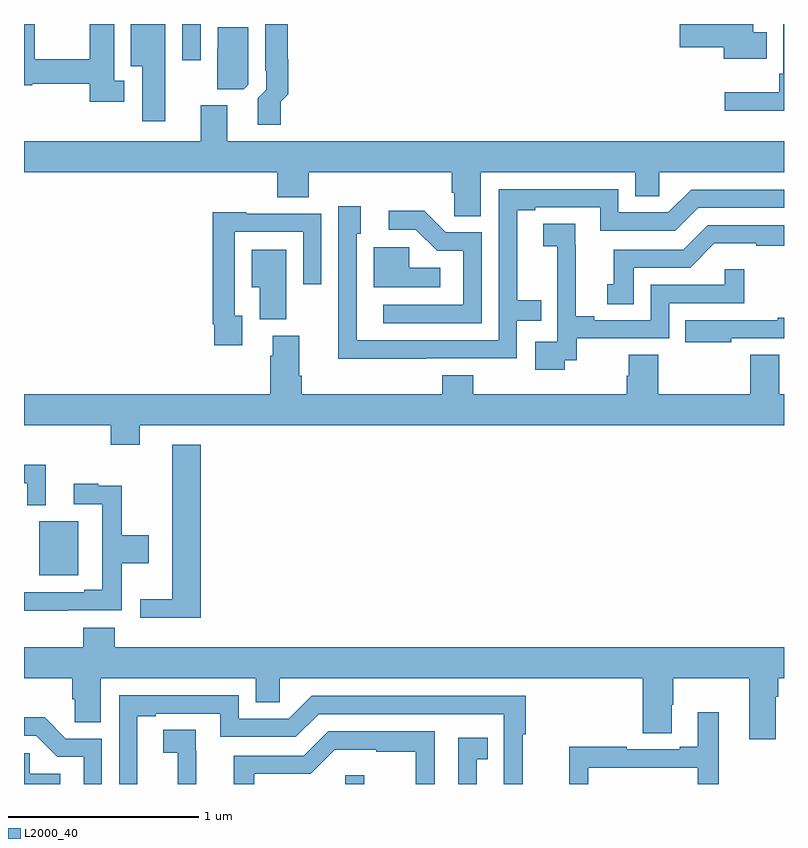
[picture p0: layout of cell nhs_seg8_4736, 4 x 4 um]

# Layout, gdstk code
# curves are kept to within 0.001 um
import gdstk
lib = gdstk.Library(unit=1e-6, precision=1e-09)
def R(c, l, rs):  # rectangles x0, y0, x1, y1
    for r in rs: c.add(gdstk.rectangle(r[:2], r[2:], *l))
def P(c, l, *ps):  # polygons
    for p in ps: c.add(gdstk.Polygon(p, *l))
L2000_40 = (2000, 40)

nhs_seg8_4736 = lib.new_cell('nhs_seg8_4736')
R(nhs_seg8_4736, L2000_40, [(398.691,1159.9,398.792,1159.945), (397.079,1160.999,397.285,1161.283), (397.833,1163.709,397.929,1163.9)])
P(nhs_seg8_4736, L2000_40, [(397.528,1163.602),(397.474,1163.602),(397.474,1163.9),(397.345,1163.9),(397.345,1163.714),(397.056,1163.714),(397.056,1163.9),(397,1163.9),(397,1163.578),(397.044,1163.578),(397.044,1163.586),(397.345,1163.586),(397.345,1163.492),(397.528,1163.492)],
  [(397.744,1163.9),(397.562,1163.9),(397.562,1163.678),(397.622,1163.678),(397.622,1163.388),(397.744,1163.388)],
  [(400.91,1163.857),(400.837,1163.857),(400.837,1163.9),(400.452,1163.9),(400.452,1163.777),(400.682,1163.777),(400.682,1163.717),(400.91,1163.717)],
  [(401,1163.9),(400.995,1163.9),(400.995,1163.638),(400.975,1163.638),(400.975,1163.542),(400.689,1163.542),(400.689,1163.444),(401,1163.444)],
  [(398.351,1163.492),(398.39,1163.53),(398.39,1163.714),(398.387,1163.714),(398.387,1163.9),(398.271,1163.9),(398.271,1163.653),(398.274,1163.653),(398.274,1163.553),(398.231,1163.51),(398.231,1163.37),(398.351,1163.37)],
  [(398.181,1163.58),(398.181,1163.882),(398.019,1163.882),(398.019,1163.771),(398.018,1163.771),(398.018,1163.557),(398.157,1163.557)],
  [(399.403,1163.12),(400.217,1163.12),(400.217,1162.993),(400.344,1162.993),(400.344,1163.12),(401,1163.12),(401,1163.284),(398.071,1163.284),(398.071,1163.472),(397.931,1163.472),(397.931,1163.284),(397,1163.284),(397,1163.12),(398.333,1163.12),(398.333,1162.987),(398.498,1162.987),(398.498,1163.12),(399.251,1163.12),(399.251,1163.011),(399.264,1163.011),(399.264,1162.888),(399.403,1162.888)],
  [(399.116,1162.14),(399.594,1162.14),(399.594,1162.338),(399.722,1162.338),(399.722,1162.447),(399.595,1162.447),(399.595,1162.92),(399.691,1162.92),(399.691,1162.935),(400.032,1162.935),(400.032,1162.812),(400.428,1162.812),(400.548,1162.932),(401,1162.932),(401,1163.028),(400.512,1163.028),(400.392,1162.908),(400.128,1162.908),(400.128,1163.031),(399.498,1163.031),(399.498,1162.236),(398.751,1162.236),(398.751,1162.797),(398.773,1162.797),(398.773,1162.942),(398.655,1162.942),(398.654,1162.139)],
  [(399.408,1162.803),(399.219,1162.803),(399.106,1162.916),(398.919,1162.916),(398.919,1162.818),(399.063,1162.818),(399.174,1162.707),(399.312,1162.707),(399.312,1162.422),(398.892,1162.422),(398.892,1162.326),(399.408,1162.326)],
  [(398.149,1162.365),(398.109,1162.365),(398.109,1162.806),(398.469,1162.806),(398.469,1162.53),(398.565,1162.53),(398.565,1162.902),(398.169,1162.902),(398.169,1162.909),(397.993,1162.909),(397.993,1162.321),(398.001,1162.321),(398.001,1162.209),(398.149,1162.209)],
  [(399.846,1162.131),(399.908,1162.131),(399.908,1162.245),(400.395,1162.245),(400.395,1162.431),(400.79,1162.431),(400.79,1162.609),(400.689,1162.609),(400.689,1162.527),(400.299,1162.527),(400.299,1162.341),(400,1162.341),(400,1162.361),(399.904,1162.361),(399.904,1162.739),(399.902,1162.739),(399.902,1162.85),(399.732,1162.85),(399.732,1162.729),(399.806,1162.729),(399.806,1162.531),(399.807,1162.531),(399.807,1162.227),(399.69,1162.227),(399.69,1162.08),(399.846,1162.08)],
  [(400.21,1162.617),(400.506,1162.617),(400.634,1162.745),(400.853,1162.745),(400.853,1162.734),(401,1162.734),(401,1162.842),(400.599,1162.842),(400.47,1162.713),(400.103,1162.713),(400.103,1162.53),(400.07,1162.53),(400.07,1162.426),(400.21,1162.426)],
  [(399.19,1162.618),(399.027,1162.618),(399.027,1162.725),(398.84,1162.725),(398.84,1162.514),(399.19,1162.514)],
  [(398.38,1162.711),(398.198,1162.711),(398.198,1162.514),(398.24,1162.514),(398.24,1162.345),(398.38,1162.345)],
  [(400.723,1162.245),(401,1162.245),(401,1162.354),(400.967,1162.354),(400.967,1162.341),(400.48,1162.341),(400.48,1162.226),(400.723,1162.226)],
  [(397.609,1161.788),(401,1161.788),(401,1161.952),(400.975,1161.952),(400.975,1162.16),(400.823,1162.16),(400.823,1161.952),(400.337,1161.952),(400.337,1162.16),(400.184,1162.16),(400.184,1162.05),(400.172,1162.05),(400.172,1161.952),(399.365,1161.952),(399.365,1162.051),(399.2,1162.051),(399.2,1161.952),(398.462,1161.952),(398.462,1162.048),(398.449,1162.048),(398.449,1162.26),(398.309,1162.26),(398.309,1162.154),(398.297,1162.154),(398.297,1161.952),(397,1161.952),(397,1161.788),(397.457,1161.788),(397.457,1161.686),(397.609,1161.686)],
  [(397.931,1161.685),(397.781,1161.685),(397.781,1160.873),(397.611,1160.873),(397.611,1160.774),(397.931,1160.774)],
  [(397.114,1161.579),(397,1161.579),(397,1161.483),(397.017,1161.483),(397.017,1161.368),(397.114,1161.368)],
  [(397.229,1160.814),(397.514,1160.814),(397.514,1161.062),(397.657,1161.062),(397.657,1161.21),(397.514,1161.21),(397.514,1161.47),(397.391,1161.47),(397.391,1161.481),(397.263,1161.481),(397.263,1161.372),(397.413,1161.372),(397.413,1160.923),(397.316,1160.923),(397.316,1160.91),(397,1160.91),(397,1160.813),(397.229,1160.813)],
  [(397.478,1160.722),(397.313,1160.722),(397.313,1160.62),(397,1160.62),(397,1160.456),(397.253,1160.456),(397.253,1160.347),(397.266,1160.347),(397.266,1160.224),(397.405,1160.224),(397.405,1160.456),(398.219,1160.456),(398.219,1160.329),(398.346,1160.329),(398.346,1160.456),(400.256,1160.456),(400.256,1160.167),(400.408,1160.167),(400.408,1160.318),(400.416,1160.318),(400.416,1160.456),(400.817,1160.456),(400.817,1160.136),(400.957,1160.136),(400.957,1160.36),(400.97,1160.36),(400.97,1160.456),(401,1160.456),(401,1160.62),(397.478,1160.62)],
  [(397.597,1160.256),(397.693,1160.256),(397.693,1160.271),(398.034,1160.271),(398.034,1160.148),(398.43,1160.148),(398.55,1160.268),(399.525,1160.268),(399.524,1159.9),(399.624,1159.9),(399.624,1160.161),(399.641,1160.161),(399.641,1160.364),(398.514,1160.364),(398.394,1160.244),(398.13,1160.244),(398.13,1160.367),(397.5,1160.367),(397.5,1159.9),(397.597,1159.9)],
  [(399.969,1159.986),(400.547,1159.986),(400.547,1159.9),(400.657,1159.9),(400.657,1160.278),(400.547,1160.278),(400.547,1160.095),(400.451,1160.095),(400.451,1160.082),(400.172,1160.082),(400.172,1160.095),(399.871,1160.095),(399.871,1159.9),(399.969,1159.9)],
  [(397.41,1160.139),(397.221,1160.139),(397.108,1160.252),(397,1160.252),(397,1160.154),(397.065,1160.154),(397.176,1160.043),(397.314,1160.043),(397.314,1159.9),(397.41,1159.9)],
  [(397.906,1160.075),(397.904,1160.075),(397.904,1160.186),(397.734,1160.186),(397.734,1160.065),(397.808,1160.065),(397.808,1159.9),(397.906,1159.9)],
  [(398.212,1159.953),(398.508,1159.953),(398.636,1160.081),(398.855,1160.081),(398.855,1160.07),(399.061,1160.07),(399.061,1159.9),(399.162,1159.9),(399.162,1160.178),(398.601,1160.178),(398.472,1160.049),(398.105,1160.049),(398.105,1159.9),(398.212,1159.9)],
  [(399.382,1160.03),(399.44,1160.03),(399.44,1160.143),(399.285,1160.143),(399.285,1159.9),(399.382,1159.9)],
  [(397.192,1159.954),(397.029,1159.954),(397.029,1160.061),(397,1160.061),(397,1159.9),(397.192,1159.9)])

lib.write_gds('nhs_seg8_4736.gds')
